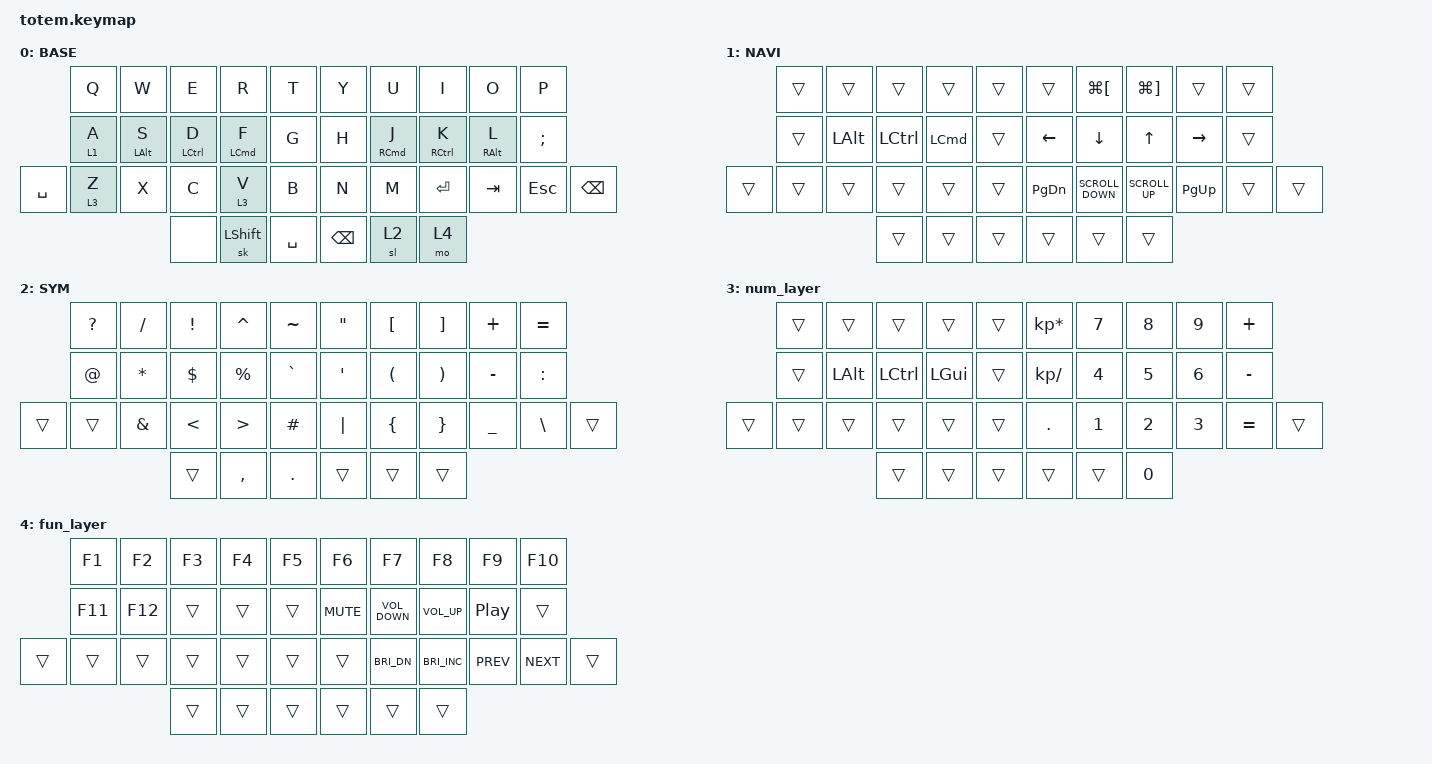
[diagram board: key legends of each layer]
//
//                                                        ▀▀▀▀▀     ▀▀▀▀▀          ▀▀█▀▀
//                                                        ▄▀▀▀▄  ▄  ▄▀▀▀▄  ▄  ▄▀▀▀▄  █  ▄▀▀▀▄
//                                                        █   █  █  █   █  █  █   █  █  █   █
//                                                         ▀▀▀   █   ▀▀▀   █   ▀▀▀   ▀   ▀▀▀
//                                                               █      ▄▄▄█▄▄▄    █   █  
//                                                               ▀      █  █  █     █▄█
//                                                             ▀▀▀▀▀    █  █  █      ▀
//                                                                      ▀  ▀  ▀
//
// ▄▄▄▄▄▄▄▄▄▄▄▄▄▄▄▄▄▄▄▄▄▄▄▄▄▄▄▄▄▄▄▄▄▄▄▄▄▄▄▄▄▄▄▄▄▄▄▄▄▄▄▄▄▄▄▄▄▄▄▄▄▄▄▄▄▄▄▄▄▄▄▄▄▄▄▄▄▄▄▄▄▄▄▄▄▄▄▄▄▄▄▄▄▄▄▄▄▄▄▄▄▄▄▄▄▄▄▄▄▄▄▄▄▄▄▄▄▄▄▄▄▄▄▄▄▄▄▄▄▄▄▄▄▄▄▄▄▄▄▄▄▄▄▄▄▄▄▄▄

#include <behaviors.dtsi>
#include <dt-bindings/zmk/keys.h>

#define BASE 0
#define NAV  1
#define SYM  2

&mt {
    quick-tap-ms = <100>;
    global-quick-tap;
    flavor = "balanced";
    tapping-term-ms = <170>;
};

/ {
    combos { compatible = "zmk,combos"; };

    keymap {
        compatible = "zmk,keymap";

        // ▄▄▄▄▄▄▄▄▄▄▄▄▄▄▄▄▄▄▄▄▄▄▄▄▄▄▄▄▄▄▄▄▄▄▄▄▄▄▄▄▄▄▄▄▄▄▄▄▄▄▄▄▄▄▄▄▄▄▄▄▄▄▄▄▄▄▄▄▄▄▄▄▄▄▄▄▄▄▄▄▄▄▄▄▄▄▄▄▄▄▄▄▄▄▄▄▄▄▄▄▄▄▄▄▄▄▄▄▄▄▄▄▄▄▄▄▄▄▄▄▄▄▄▄▄▄▄▄▄▄▄▄▄▄▄▄▄▄▄▄▄▄▄▄▄▄▄▄▄

        base_layer {
            // ┏━━━━━━━━━━━━━━━━━━━━━━━━━━━━━━━━━━━━━━━┓

            label = "BASE";

            // ┗━━━━━━━━━━━━━━━━━━━━━━━━━━━━━━━━━━━━━━━┛
            //             ┏━━━━━━━━━━━┳━━━━━━━━━━━┳━━━━━━━━━━━┳━━━━━━━━━━━┳━━━━━━━━━━━┓   ┏━━━━━━━━━━━┳━━━━━━━━━━━┳━━━━━━━━━━━┳━━━━━━━━━━━┳━━━━━━━━━━━┓
            //             ┃     Q     ┃     W     ┃     E     ┃     R     ┃     T     ┃   ┃     Y     ┃     U     ┃     I     ┃     O     ┃     P     ┃
            //             ┣━━━━━━━━━━━╋━━━━━━━━━━━╋━━━━━━━━━━━╋━━━━━━━━━━━╋━━━━━━━━━━━┫   ┣━━━━━━━━━━━╋━━━━━━━━━━━╋━━━━━━━━━━━╋━━━━━━━━━━━╋━━━━━━━━━━━┫
            //             ┃ NAV + A   ┃ ALT + S   ┃ CTRL + D  ┃ CMD + F   ┃     G     ┃   ┃     H     ┃ CMD + J   ┃ CTRL + K  ┃ ALT + S   ┃     ;     ┃
            // ┏━━━━━━━━━━━╋━━━━━━━━━━━╋━━━━━━━━━━━╋━━━━━━━━━━━╋━━━━━━━━━━━╋━━━━━━━━━━━┫   ┣━━━━━━━━━━━╋━━━━━━━━━━━╋━━━━━━━━━━━╋━━━━━━━━━━━╋━━━━━━━━━━━╋━━━━━━━━━━━┓
            // ┃    SPC    ┃ NUM + Z   ┃     X     ┃     C     ┃ NUM + V   ┃     B     ┃   ┃     N     ┃     M     ┃  ENTER    ┃   TAB     ┃    ESC    ┃    BSCP   ┃
            // ┗━━━━━━━━━━━┻━━━━━━━━━━━┻━━━━━━━━━━━╋━━━━━━━━━━━╋━━━━━━━━━━━╋━━━━━━━━━━━┫   ┣━━━━━━━━━━━╋━━━━━━━━━━━╋━━━━━━━━━━━╋━━━━━━━━━━━┻━━━━━━━━━━━┻━━━━━━━━━━━┛
            //                                     ┃   ADJUST  ┃   SHIFT   ┃    SPC    ┃   ┃    BSCP   ┃    SYM    ┃    FN     ┃
            //                                     ┗━━━━━━━━━━━┻━━━━━━━━━━━┻━━━━━━━━━━━┛   ┗━━━━━━━━━━━┻━━━━━━━━━━━┻━━━━━━━━━━━┛

            bindings = <
           &kp Q    &kp W           &kp E        &kp R               &kp T        &kp Y          &kp U                &kp I        &kp O            &kp P
           &lt 1 A  &mt LEFT_ALT S  &mt LCTRL D  &mt LEFT_COMMAND F  &kp G        &kp H          &mt RIGHT_COMMAND J  &mt RCTRL K  &mt RIGHT_ALT L  &kp SEMICOLON
&kp SPACE  &lt 3 Z  &kp X           &kp C        &lt 3 V             &kp B        &kp N          &kp M                &kp ENTER    &kp TAB          &kp ESCAPE  &kp BACKSPACE
                                    &none        &sk LEFT_SHIFT      &kp SPACE    &kp BACKSPACE  &sl 2                &mo 4
            >;
        };

        // ▄▄▄▄▄▄▄▄▄▄▄▄▄▄▄▄▄▄▄▄▄▄▄▄▄▄▄▄▄▄▄▄▄▄▄▄▄▄▄▄▄▄▄▄▄▄▄▄▄▄▄▄▄▄▄▄▄▄▄▄▄▄▄▄▄▄▄▄▄▄▄▄▄▄▄▄▄▄▄▄▄▄▄▄▄▄▄▄▄▄▄▄▄▄▄▄▄▄▄▄▄▄▄▄▄▄▄▄▄▄▄▄▄▄▄▄▄▄▄▄▄▄▄▄▄▄▄▄▄▄▄▄▄▄▄▄▄▄▄▄▄▄▄▄▄▄▄▄▄

        nav_layer {
            // ┏━━━━━━━━━━━━━━━━━━━━━━━━━━━━━━━━━━━━━━━┓

            label = "NAVI";

            // ┗━━━━━━━━━━━━━━━━━━━━━━━━━━━━━━━━━━━━━━━┛
            //             ┏━━━━━━━━━━━┳━━━━━━━━━━━┳━━━━━━━━━━━┳━━━━━━━━━━━┳━━━━━━━━━━━┓   ┏━━━━━━━━━━━┳━━━━━━━━━━━┳━━━━━━━━━━━┳━━━━━━━━━━━┳━━━━━━━━━━━┓
            //             ┃           ┃           ┃           ┃           ┃           ┃   ┃           ┃  CMD + [  ┃ CMD + ]   ┃           ┃           ┃
            //             ┣━━━━━━━━━━━╋━━━━━━━━━━━╋━━━━━━━━━━━╋━━━━━━━━━━━╋━━━━━━━━━━━┫   ┣━━━━━━━━━━━╋━━━━━━━━━━━╋━━━━━━━━━━━╋━━━━━━━━━━━╋━━━━━━━━━━━┫
            //             ┃           ┃    ALT    ┃    CTRL   ┃    CMD    ┃           ┃   ┃   LEFT    ┃   DOWN    ┃    UP     ┃   RIGHT   ┃           ┃
            // ┏━━━━━━━━━━━╋━━━━━━━━━━━╋━━━━━━━━━━━╋━━━━━━━━━━━╋━━━━━━━━━━━╋━━━━━━━━━━━┫   ┣━━━━━━━━━━━╋━━━━━━━━━━━╋━━━━━━━━━━━╋━━━━━━━━━━━╋━━━━━━━━━━━╋━━━━━━━━━━━┓
            // ┃           ┃           ┃           ┃           ┃           ┃           ┃   ┃           ┃           ┃           ┃           ┃           ┃           ┃
            // ┗━━━━━━━━━━━┻━━━━━━━━━━━┻━━━━━━━━━━━╋━━━━━━━━━━━╋━━━━━━━━━━━╋━━━━━━━━━━━┫   ┣━━━━━━━━━━━╋━━━━━━━━━━━╋━━━━━━━━━━━╋━━━━━━━━━━━┻━━━━━━━━━━━┻━━━━━━━━━━━┛
            //                                     ┃           ┃           ┃           ┃   ┃           ┃           ┃           ┃
            //                                     ┗━━━━━━━━━━━┻━━━━━━━━━━━┻━━━━━━━━━━━┛   ┗━━━━━━━━━━━┻━━━━━━━━━━━┻━━━━━━━━━━━┛

            bindings = <
        &trans  &trans        &trans     &trans            &trans    &trans          &kp LG(LBKT)       &kp LG(RBKT)     &trans       &trans
        &trans  &kp LEFT_ALT  &kp LCTRL  &kp LEFT_COMMAND  &trans    &kp LEFT_ARROW  &kp DOWN_ARROW     &kp UP_ARROW     &kp RIGHT    &trans
&trans  &trans  &trans        &trans     &trans            &trans    &kp PAGE_DOWN   &kp K_SCROLL_DOWN  &kp K_SCROLL_UP  &kp PAGE_UP  &trans  &trans
                              &trans     &trans            &trans    &trans          &trans             &trans
            >;
        };

        // ▄▄▄▄▄▄▄▄▄▄▄▄▄▄▄▄▄▄▄▄▄▄▄▄▄▄▄▄▄▄▄▄▄▄▄▄▄▄▄▄▄▄▄▄▄▄▄▄▄▄▄▄▄▄▄▄▄▄▄▄▄▄▄▄▄▄▄▄▄▄▄▄▄▄▄▄▄▄▄▄▄▄▄▄▄▄▄▄▄▄▄▄▄▄▄▄▄▄▄▄▄▄▄▄▄▄▄▄▄▄▄▄▄▄▄▄▄▄▄▄▄▄▄▄▄▄▄▄▄▄▄▄▄▄▄▄▄▄▄▄▄▄▄▄▄▄▄▄▄

        sim_layer {
            // ┏━━━━━━━━━━━━━━━━━━━━━━━━━━━━━━━━━━━━━━━┓

            label = "SYM";

            // ┗━━━━━━━━━━━━━━━━━━━━━━━━━━━━━━━━━━━━━━━┛
            //             ┏━━━━━━━━━━━┳━━━━━━━━━━━┳━━━━━━━━━━━┳━━━━━━━━━━━┳━━━━━━━━━━━┓   ┏━━━━━━━━━━━┳━━━━━━━━━━━┳━━━━━━━━━━━┳━━━━━━━━━━━┳━━━━━━━━━━━┓
            //             ┃     ?     ┃     /     ┃     !     ┃     ^     ┃     ~     ┃   ┃     "     ┃     [     ┃     ]     ┃     +     ┃     =     ┃
            //             ┣━━━━━━━━━━━╋━━━━━━━━━━━╋━━━━━━━━━━━╋━━━━━━━━━━━╋━━━━━━━━━━━┫   ┣━━━━━━━━━━━╋━━━━━━━━━━━╋━━━━━━━━━━━╋━━━━━━━━━━━╋━━━━━━━━━━━┫
            //             ┃     @     ┃     *     ┃     $     ┃     %     ┃     `     ┃   ┃     '     ┃     (     ┃     )     ┃     -     ┃     :     ┃
            // ┏━━━━━━━━━━━╋━━━━━━━━━━━╋━━━━━━━━━━━╋━━━━━━━━━━━╋━━━━━━━━━━━╋━━━━━━━━━━━┫   ┣━━━━━━━━━━━╋━━━━━━━━━━━╋━━━━━━━━━━━╋━━━━━━━━━━━╋━━━━━━━━━━━╋━━━━━━━━━━━┓
            // ┃           ┃           ┃     &     ┃     <     ┃     >     ┃     #     ┃   ┃     |     ┃     {     ┃     }     ┃     _     ┃     \     ┃           ┃
            // ┗━━━━━━━━━━━┻━━━━━━━━━━━┻━━━━━━━━━━━╋━━━━━━━━━━━╋━━━━━━━━━━━╋━━━━━━━━━━━┫   ┣━━━━━━━━━━━╋━━━━━━━━━━━╋━━━━━━━━━━━╋━━━━━━━━━━━┻━━━━━━━━━━━┻━━━━━━━━━━━┛
            //                                     ┃           ┃     ,     ┃     .     ┃   ┃           ┃           ┃           ┃
            //                                     ┗━━━━━━━━━━━┻━━━━━━━━━━━┻━━━━━━━━━━━┛   ┗━━━━━━━━━━━┻━━━━━━━━━━━┻━━━━━━━━━━━┛

            bindings = <
        &kp QUESTION  &kp SLASH      &kp EXCL       &kp CARET         &kp TILDE     &kp DOUBLE_QUOTES  &kp LEFT_BRACKET      &kp RIGHT_BRACKET      &kp PLUS        &kp EQUAL
        &kp AT        &kp STAR       &kp DOLLAR     &kp PERCENT       &kp GRAVE     &kp SINGLE_QUOTE   &kp LEFT_PARENTHESIS  &kp RIGHT_PARENTHESIS  &kp MINUS       &kp COLON
&trans  &trans        &kp AMPERSAND  &kp LESS_THAN  &kp GREATER_THAN  &kp POUND     &kp PIPE           &kp LEFT_BRACE        &kp RIGHT_BRACE        &kp UNDERSCORE  &kp BSLH       &trans
                                     &trans         &kp COMMA         &kp PERIOD    &trans             &trans                &trans
            >;
        };

        num_layer {
            bindings = <
        &trans  &trans    &trans     &trans    &trans    &kp KP_MULTIPLY  &kp N7  &kp N8  &kp N9  &kp PLUS
        &trans  &kp LALT  &kp LCTRL  &kp LGUI  &trans    &kp KP_DIVIDE    &kp N4  &kp N5  &kp N6  &kp MINUS
&trans  &trans  &trans    &trans     &trans    &trans    &kp DOT          &kp N1  &kp N2  &kp N3  &kp EQUAL  &trans
                          &trans     &trans    &trans    &trans           &trans  &kp N0
            >;
        };

        fun_layer {
            bindings = <
        &kp F1   &kp F2   &kp F3  &kp F4  &kp F5    &kp F6      &kp F7             &kp F8           &kp F9            &kp F10
        &kp F11  &kp F12  &trans  &trans  &trans    &kp K_MUTE  &kp C_VOLUME_DOWN  &kp C_VOLUME_UP  &kp C_PLAY_PAUSE  &trans
&trans  &trans   &trans   &trans  &trans  &trans    &trans      &kp C_BRI_DN       &kp C_BRI_INC    &kp K_PREV        &kp C_NEXT  &trans
                          &trans  &trans  &trans    &trans      &trans             &trans
            >;
        };

        // ▄▄▄▄▄▄▄▄▄▄▄▄▄▄▄▄▄▄▄▄▄▄▄▄▄▄▄▄▄▄▄▄▄▄▄▄▄▄▄▄▄▄▄▄▄▄▄▄▄▄▄▄▄▄▄▄▄▄▄▄▄▄▄▄▄▄▄▄▄▄▄▄▄▄▄▄▄▄▄▄▄▄▄▄▄▄▄▄▄▄▄▄▄▄▄▄▄▄▄▄▄▄▄▄▄▄▄▄▄▄▄▄▄▄▄▄▄▄▄▄▄▄▄▄▄▄▄▄▄▄▄▄▄▄▄▄▄▄▄▄▄▄▄▄▄▄▄▄▄
        // ▄▄▄▄▄▄▄▄▄▄▄▄▄▄▄▄▄▄▄▄▄▄▄▄▄▄▄▄▄▄▄▄▄▄▄▄▄▄▄▄▄▄▄▄▄▄▄▄▄▄▄▄▄▄▄▄▄▄▄▄▄▄▄▄▄▄▄▄▄▄▄▄▄▄▄▄▄▄▄▄▄▄▄▄▄▄▄▄▄▄▄▄▄▄▄▄▄▄▄▄▄▄▄▄▄▄▄▄▄▄▄▄▄▄▄▄▄▄▄▄▄▄▄▄▄▄▄▄▄▄▄▄▄▄▄▄▄▄▄▄▄▄▄▄▄▄▄▄▄
        // ▄▄▄▄▄▄▄▄▄▄▄▄▄▄▄▄▄▄▄▄▄▄▄▄▄▄▄▄▄▄▄▄▄▄▄▄▄▄▄▄▄▄▄▄▄▄▄▄▄▄▄▄▄▄▄▄▄▄▄▄▄▄▄▄▄▄▄▄▄▄▄▄▄▄▄▄▄▄▄▄▄▄▄▄▄▄▄▄▄▄▄▄▄▄▄▄▄▄▄▄▄▄▄▄▄▄▄▄▄▄▄▄▄▄▄▄▄▄▄▄▄▄▄▄▄▄▄▄▄▄▄▄▄▄▄▄▄▄▄▄▄▄▄▄▄▄▄▄▄
    };
};
